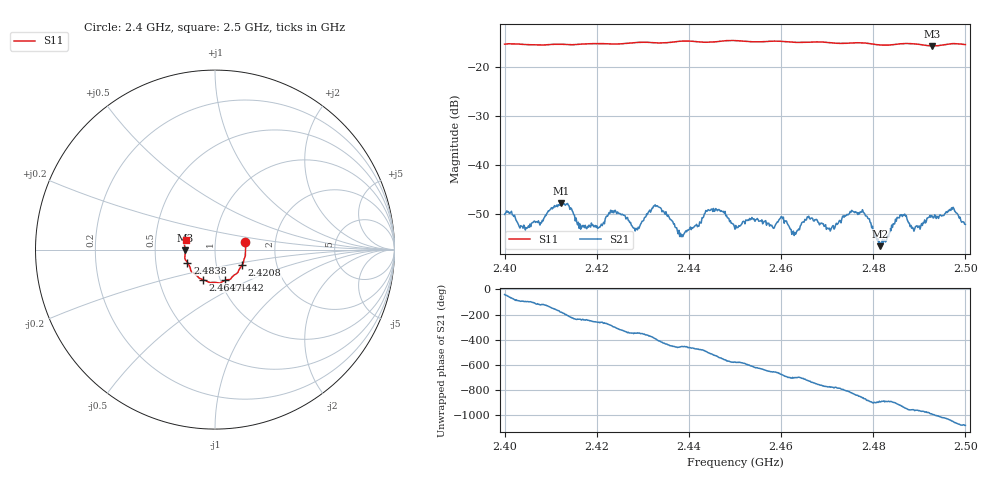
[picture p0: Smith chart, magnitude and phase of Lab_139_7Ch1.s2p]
# Hz S RI R 50
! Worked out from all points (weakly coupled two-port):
!   601 points, 2.4 GHz to 2.5 GHz, reference 50 ohm
!   highest |S21| = -47.82 dB at 2.4123 GHz (marker M1); lowest = -56.7 dB at 2.4815 GHz (marker M2)
!   lowest |S11| = -15.6 dB at 2.4928 GHz (marker M3), VSWR 1.40, Z = 35.8 - j0.364 ohm
!   |S11| at or under -10 dB: start of sweep to end of sweep
!   S12 and S22 are empty: the file has one direction only
!   S11 on the Smith chart (normalised r, x): 2.4 GHz: 1.40, +0.12; 2.4208 GHz: 1.33, -0.24; 2.4442 GHz: 1.05, -0.37; 2.4647 GHz: 0.83, -0.29; 2.4838 GHz: 0.73, -0.11; 2.5 GHz: 0.72, +0.08
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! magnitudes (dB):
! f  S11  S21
! 2.4 GHz  -15.2  -50.1
! 2.4048 GHz  -15.4  -53.0
! 2.4123 GHz  -15.3  -47.8
! 2.4167 GHz  -15.2  -52.8
! 2.4208 GHz  -15.1  -52.5
! 2.4235 GHz  -15.2  -49.4
! 2.4287 GHz  -14.9  -53.1
! 2.4333 GHz  -15.0  -48.6
! 2.4385 GHz  -14.6  -54.3
! 2.4442 GHz  -14.9  -49.2
! 2.45 GHz  -14.5  -53.2
! 2.4647 GHz  -14.9  -51.7
! 2.4667 GHz  -14.8  -50.9
! 2.4703 GHz  -14.9  -53.1
! 2.4777 GHz  -15.0  -49.2
! 2.4815 GHz  -15.4  -56.7
! 2.4833 GHz  -15.5  -54.7
! 2.4838 GHz  -15.4  -53.5
! 2.4863 GHz  -15.2  -50.6
! 2.4928 GHz  -15.6  -50.5
! 2.4972 GHz  -15.2  -49.1
! 2.5 GHz  -15.3  -52.2
